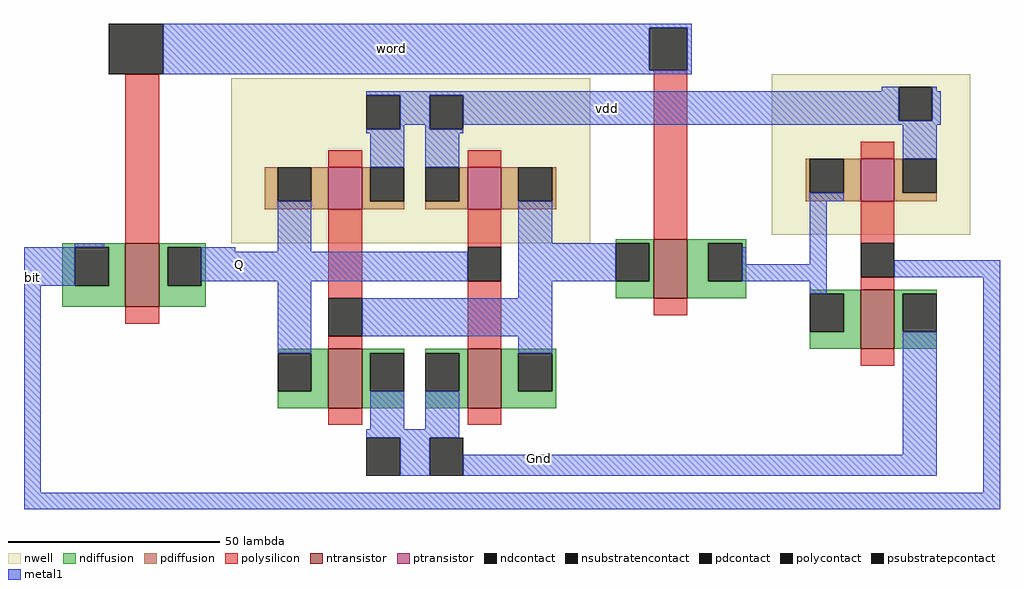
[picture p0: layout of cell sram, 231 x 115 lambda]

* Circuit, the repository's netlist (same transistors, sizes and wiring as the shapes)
* SPICE3 file created from sram.ext - technology: tsmc

.include ./tsmc180nm.txt
.option scale=0.06u


Vpower vdd 0 3.3 
Vwrite word 0 pulse(0 ,3.3 ,0 ,1p, 1p ,10n, 20n)
Vbit bit 0 pulse(0 ,3.3, 0 ,1p, 1p, 10n, 15n)


M1000 Q word bit Gnd nfet w=15 l=8
+  ad=333 pd=104 as=225 ps=60
M1001 Gnd bit a_84_n16# Gnd nfet w=14 l=8
+  ad=420 pd=144 as=364 ps=108
M1002 a_84_n16# word a_n1_n46# Gnd nfet w=14 l=8
+  ad=0 pd=0 as=308 ps=100
M1003 vdd bit a_84_n16# vdd pfet w=10 l=8
+  ad=300 pd=120 as=130 ps=46
M1004 Gnd a_n1_n46# Q Gnd nfet w=14 l=8
+  ad=0 pd=0 as=0 ps=0
M1005 a_n1_n46# Q Gnd Gnd nfet w=14 l=8
+  ad=0 pd=0 as=0 ps=0
M1006 vdd a_n1_n46# Q vdd pfet w=10 l=8
+  ad=0 pd=0 as=150 ps=50
M1007 a_n1_n46# Q vdd vdd pfet w=10 l=8
+  ad=130 pd=46 as=0 ps=0


.control
run
setplot tran
plot Q bit+4 word+8
.endc

.tran 10n 100n 
.end

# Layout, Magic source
magic
tech tsmc
<< nwell >>
rect -24 -3 61 36
rect 104 -1 151 37
<< ntransistor >>
rect -49 -18 -41 -3
rect 76 -16 84 -2
rect 125 -28 133 -14
rect -1 -42 7 -28
rect 32 -42 40 -28
<< ptransistor >>
rect -1 5 7 15
rect 32 5 40 15
rect 125 7 133 17
<< ndiffusion >>
rect -64 -4 -49 -3
rect -64 -13 -61 -4
rect -53 -13 -49 -4
rect -64 -18 -49 -13
rect -41 -4 -30 -3
rect -41 -13 -39 -4
rect -31 -13 -30 -4
rect -41 -18 -30 -13
rect 67 -3 76 -2
rect 75 -12 76 -3
rect 67 -16 76 -12
rect 84 -3 98 -2
rect 84 -12 89 -3
rect 97 -12 98 -3
rect 84 -16 98 -12
rect 113 -15 125 -14
rect 121 -24 125 -15
rect 113 -28 125 -24
rect 133 -15 143 -14
rect 133 -24 135 -15
rect 133 -28 143 -24
rect -13 -29 -1 -28
rect -5 -38 -1 -29
rect -13 -42 -1 -38
rect 7 -29 17 -28
rect 7 -38 9 -29
rect 7 -42 17 -38
rect 22 -29 32 -28
rect 30 -38 32 -29
rect 22 -42 32 -38
rect 40 -29 53 -28
rect 40 -38 44 -29
rect 52 -38 53 -29
rect 40 -42 53 -38
<< pdiffusion >>
rect -16 7 -13 15
rect -5 7 -1 15
rect -16 5 -1 7
rect 7 7 9 15
rect 7 5 17 7
rect 30 7 32 15
rect 22 5 32 7
rect 40 7 44 15
rect 52 7 53 15
rect 40 5 53 7
rect 112 9 113 17
rect 121 9 125 17
rect 112 7 125 9
rect 133 9 135 17
rect 133 7 143 9
<< ndcontact >>
rect -61 -13 -53 -4
rect -39 -13 -31 -4
rect 67 -12 75 -3
rect 89 -12 97 -3
rect 113 -24 121 -15
rect 135 -24 143 -15
rect -13 -38 -5 -29
rect 9 -38 17 -29
rect 22 -38 30 -29
rect 44 -38 52 -29
<< pdcontact >>
rect -13 7 -5 15
rect 9 7 17 15
rect 22 7 30 15
rect 44 7 52 15
rect 113 9 121 17
rect 135 9 143 17
<< psubstratepcontact >>
rect 8 -58 16 -49
rect 23 -58 31 -49
<< nsubstratencontact >>
rect 8 24 16 32
rect 23 24 31 32
rect 134 26 142 34
<< polysilicon >>
rect -49 -3 -41 37
rect -1 15 7 19
rect 32 15 40 19
rect -1 -16 7 5
rect -49 -22 -41 -18
rect -1 -28 7 -25
rect 32 -4 40 5
rect 76 -2 84 38
rect 125 17 133 21
rect 32 -28 40 -12
rect 125 -3 133 7
rect 125 -14 133 -11
rect 76 -20 84 -16
rect 125 -32 133 -28
rect -1 -46 7 -42
rect 32 -46 40 -42
<< polycontact >>
rect -53 37 -40 49
rect 75 38 84 48
rect -1 -25 7 -16
rect 32 -12 40 -4
rect 125 -11 133 -3
<< metal1 >>
rect -40 48 85 49
rect -40 38 75 48
rect 84 38 85 48
rect -40 37 85 38
rect 130 33 134 34
rect 8 32 134 33
rect 16 25 23 32
rect 16 24 17 25
rect 8 23 17 24
rect 9 15 17 23
rect 22 24 23 25
rect 31 26 134 32
rect 142 33 143 34
rect 142 26 144 33
rect 31 25 144 26
rect 22 23 31 24
rect 22 15 30 23
rect 135 17 143 25
rect -61 -4 -54 -3
rect -73 -13 -61 -4
rect -31 -5 -23 -4
rect -13 -5 -5 7
rect 44 -3 52 7
rect 113 7 121 9
rect -31 -12 32 -5
rect 44 -12 67 -3
rect 97 -8 98 -4
rect 113 -8 117 7
rect 97 -12 117 -8
rect 133 -11 158 -7
rect -73 -62 -69 -13
rect -13 -29 -5 -12
rect 44 -16 52 -12
rect 7 -25 52 -16
rect 113 -15 117 -12
rect 44 -29 52 -25
rect 9 -47 17 -38
rect 22 -47 30 -38
rect 8 -49 30 -47
rect 16 -58 23 -49
rect 135 -53 143 -24
rect 31 -58 143 -53
rect 154 -62 158 -11
rect -73 -66 158 -62
<< labels >>
rlabel metal1 -22 -8 -22 -8 1 Q
rlabel metal1 65 29 65 29 1 vdd
rlabel metal1 49 -54 49 -54 1 Gnd
rlabel metal1 -71 -11 -71 -11 3 bit
rlabel metal1 14 43 14 43 1 word
<< end >>
